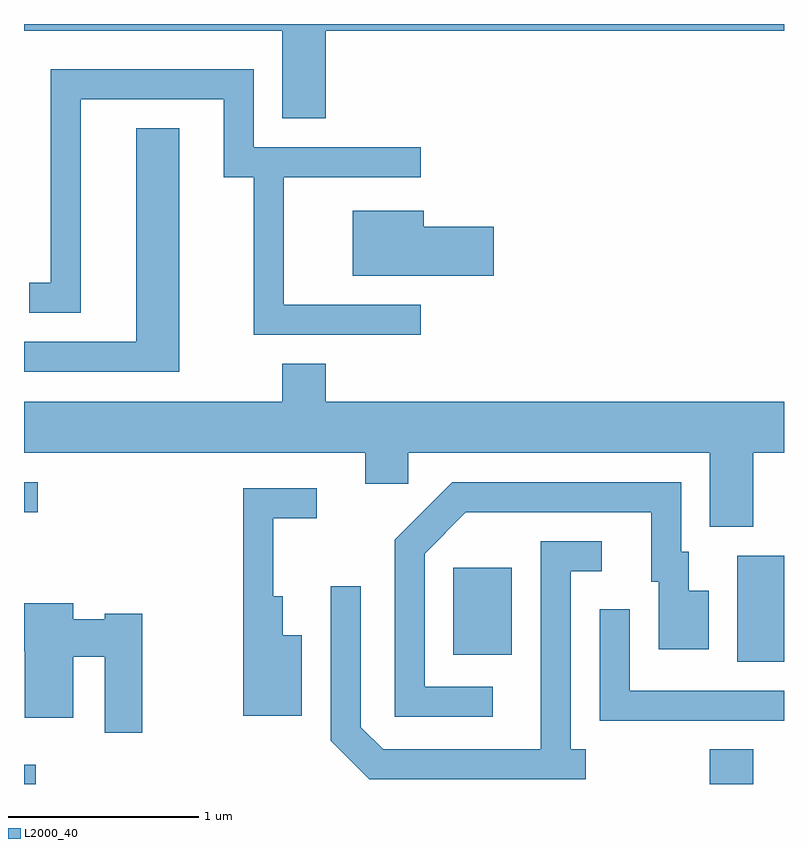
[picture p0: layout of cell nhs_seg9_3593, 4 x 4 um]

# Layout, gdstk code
import gdstk
lib = gdstk.Library(unit=1e-6, precision=1e-09)
def R(c, l, rs):  # rectangles x0, y0, x1, y1
    for r in rs: c.add(gdstk.rectangle(r[:2], r[2:], *l))
def P(c, l, *ps):  # polygons
    for p in ps: c.add(gdstk.Polygon(p, *l))
L2000_40 = (2000, 40)

nhs_seg9_3593 = lib.new_cell('nhs_seg9_3593')
R(nhs_seg9_3593, L2000_40, [(289.611,2074.432,289.674,2074.534), (293.221,2074.432,293.449,2074.614), (293.366,2075.076,293.611,2075.634), (291.871,2075.111,292.179,2075.569), (289.611,2075.861,289.683,2076.019)])
P(nhs_seg9_3593, L2000_40, [(291.199,2078.396),(293.611,2078.396),(293.611,2078.432),(289.611,2078.432),(289.611,2078.396),(290.971,2078.396),(290.971,2077.936),(291.199,2077.936)],
  [(291.698,2076.954),(290.979,2076.954),(290.979,2077.626),(291.698,2077.626),(291.698,2077.784),(290.819,2077.784),(290.819,2078.194),(289.751,2078.194),(289.751,2077.069),(289.638,2077.069),(289.638,2076.911),(289.909,2076.911),(289.909,2078.036),(290.661,2078.036),(290.661,2077.626),(290.821,2077.626),(290.821,2076.796),(291.698,2076.796)],
  [(290.429,2077.884),(290.201,2077.884),(290.201,2076.759),(289.611,2076.759),(289.611,2076.601),(290.429,2076.601)],
  [(292.084,2077.364),(291.714,2077.364),(291.714,2077.449),(291.341,2077.449),(291.341,2077.106),(292.084,2077.106)],
  [(293.449,2076.176),(293.611,2076.176),(293.611,2076.444),(291.199,2076.444),(291.199,2076.644),(290.971,2076.644),(290.971,2076.444),(289.611,2076.444),(289.611,2076.176),(291.406,2076.176),(291.406,2076.011),(291.634,2076.011),(291.634,2076.176),(293.221,2076.176),(293.221,2075.786),(293.449,2075.786)],
  [(292.078,2074.944),(291.719,2074.944),(291.719,2075.644),(291.937,2075.861),(292.911,2075.861),(292.911,2075.496),(292.951,2075.496),(292.951,2075.141),(293.214,2075.141),(293.214,2075.449),(293.109,2075.449),(293.109,2075.654),(293.069,2075.654),(293.069,2076.019),(291.864,2076.019),(291.561,2075.717),(291.561,2074.786),(292.078,2074.786)],
  [(291.074,2075.214),(290.974,2075.214),(290.974,2075.419),(290.924,2075.419),(290.924,2075.831),(291.153,2075.831),(291.153,2075.989),(290.766,2075.989),(290.766,2074.791),(291.074,2074.791)],
  [(292.568,2074.614),(292.489,2074.614),(292.489,2075.551),(292.653,2075.551),(292.653,2075.709),(292.331,2075.709),(292.331,2074.614),(291.502,2074.614),(291.384,2074.731),(291.384,2075.472),(291.226,2075.472),(291.226,2074.659),(291.429,2074.456),(292.568,2074.456)],
  [(290.234,2075.329),(290.036,2075.329),(290.036,2075.299),(289.869,2075.299),(289.869,2075.384),(289.611,2075.384),(289.611,2075.131),(289.616,2075.131),(289.616,2074.781),(289.869,2074.781),(289.869,2075.101),(290.036,2075.101),(290.036,2074.701),(290.234,2074.701)],
  [(293.611,2074.924),(292.799,2074.924),(292.799,2075.353),(292.641,2075.353),(292.641,2074.766),(293.611,2074.766)])

lib.write_gds('nhs_seg9_3593.gds')
